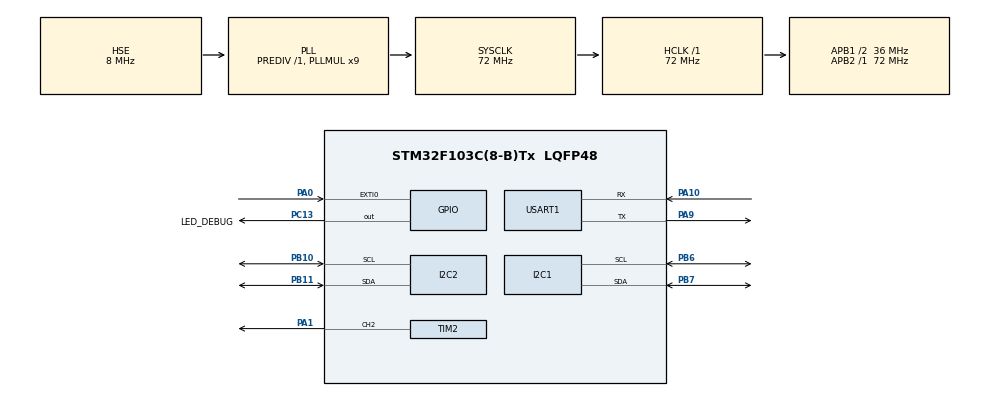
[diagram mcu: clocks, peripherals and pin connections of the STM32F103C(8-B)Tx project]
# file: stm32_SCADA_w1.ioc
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Mcu.Family=STM32F1
Mcu.Name=STM32F103C(8-B)Tx
Mcu.Package=LQFP48
NVIC.EXTI0_IRQn=true\:0\:0\:false\:false\:true\:true\:true\:true
NVIC.PriorityGroup=NVIC_PRIORITYGROUP_4
NVIC.USART1_IRQn=true\:0\:0\:false\:false\:true\:true\:true\:true
PA0-WKUP.GPIO_ModeDefaultEXTI=GPIO_MODE_IT_FALLING
PA0-WKUP.GPIO_PuPd=GPIO_PULLUP
PA0-WKUP.Signal=GPXTI0
PA1.Signal=S_TIM2_CH2
PA10.Mode=Asynchronous
PA10.Signal=USART1_RX
PA13.Mode=Serial_Wire
PA13.Signal=SYS_JTMS-SWDIO
PA14.Mode=Serial_Wire
PA14.Signal=SYS_JTCK-SWCLK
PA9.Mode=Asynchronous
PA9.Signal=USART1_TX
PB10.Mode=I2C
PB10.Signal=I2C2_SCL
PB11.Mode=I2C
PB11.Signal=I2C2_SDA
PB6.Mode=I2C
PB6.Signal=I2C1_SCL
PB7.Mode=I2C
PB7.Signal=I2C1_SDA
PC13-TAMPER-RTC.GPIO_Label=LED_DEBUG
PC13-TAMPER-RTC.PinState=GPIO_PIN_SET
PC13-TAMPER-RTC.Signal=GPIO_Output
PD0-OSC_IN.Mode=HSE-External-Oscillator
PD0-OSC_IN.Signal=RCC_OSC_IN
PD1-OSC_OUT.Mode=HSE-External-Oscillator
PD1-OSC_OUT.Signal=RCC_OSC_OUT
ProjectManager.HeapSize=0x200
ProjectManager.StackSize=0x400
ProjectManager.TargetToolchain=STM32CubeIDE
RCC.AHBFreq_Value=72000000
RCC.APB1CLKDivider=RCC_HCLK_DIV2
RCC.APB1Freq_Value=36000000
RCC.APB1TimFreq_Value=72000000
RCC.APB2Freq_Value=72000000
RCC.APB2TimFreq_Value=72000000
RCC.HCLKFreq_Value=72000000
RCC.PLLMUL=RCC_PLL_MUL9
RCC.PLLSourceVirtual=RCC_PLLSOURCE_HSE
RCC.SYSCLKFreq_VALUE=72000000
RCC.SYSCLKSource=RCC_SYSCLKSOURCE_PLLCLK
RCC.USBFreq_Value=72000000
SH.S_TIM2_CH2.0=TIM2_CH2,PWM Generation2 CH2
TIM2.Channel-PWM\ Generation2\ CH2=TIM_CHANNEL_2
TIM2.Prescaler=71
USART1.VirtualMode=VM_ASYNC
VP_TIM2_VS_ClockSourceINT.Mode=Internal
board=custom

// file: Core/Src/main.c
/* USER CODE BEGIN Header */
/**
  ******************************************************************************
  * @file           : main.c
  * @brief          : Main program body
  ******************************************************************************
  * @attention
  *
  * Copyright (c) 2026 STMicroelectronics.
  * All rights reserved.
  *
  * This software is licensed under terms that can be found in the LICENSE file
  * in the root directory of this software component.
  * If no LICENSE file comes with this software, it is provided AS-IS.
  *
  ******************************************************************************
  */
/* USER CODE END Header */
#include "main.h"
#include "i2c.h"
#include "tim.h"
#include "usart.h"
#include "gpio.h"

/* USER CODE BEGIN Includes */
#include "main.h"
#include "tim.h"
#include "usart.h"
#include "gpio.h"
#include "i2c-lcd.h"
#include <stdio.h>
#include <string.h>
/* USER CODE END Includes */

/* USER CODE BEGIN PTD */
typedef struct {
  uint8_t sec;
  uint8_t min;
  uint8_t hour;
  uint8_t day;
  uint8_t date;
  uint8_t month;
  uint8_t year;
} DS1307_Time_t;
/* USER CODE END PTD */

/* USER CODE BEGIN PD */
#define DS1307_ADDR (0x68 << 1)
/* USER CODE END PD */

/* USER CODE BEGIN PV */
uint8_t rx_byte; //hứng từng ký tự nhận đươc
char rx_buf[32]; // mảng chứa chuỗi lệnh hoàn chỉnh
uint8_t rx_idx=0; // con trỏ vị trí mảng
volatile uint8_t flag_cmd_ready=0; //cờ báo có lệnh từ máy ảo

//--Biến phục vụ nút nhấn EXTI & Khóa an toàn E-Stop-----//
volatile uint8_t flag_btn_pressed = 0; // Cờ báo có người nhấn PA0
volatile uint8_t is_stopped = 0;       // Cờ khóa dừng khẩn cấp E-Stop
volatile uint32_t stop_tick = 0;       // Thời điểm kích hoạt E-Stop

//--Biến phục vụ DS1307 RTC trên I2C2 (PB10/PB11)--------//
DS1307_Time_t rtc_time = {0};
DS1307_Time_t stop_time = {0};
uint8_t ds1307_ok = 0;

//--Biến phục vụ LCD 2 trang & đo thời gian sweep_servo---//
uint8_t lcd_page = 0;               // 0: Giờ Việt Nam (DS1307), 1: Thời gian sweep_servo
uint32_t servo_active_ms = 0;       // Tổng thời gian servo quay (sweep_servo)
uint32_t last_srv_cmd_tick = 0;     // Mốc thời gian nhận lệnh CMD:SRV gần nhất
int16_t last_servo_angle = 0;       // Góc servo gần nhất để nhận biết đang quay
/* USER CODE END PV */

void SystemClock_Config(void);
/* USER CODE BEGIN PFP */
void Set_Servo_Angle(int16_t angle);
uint8_t DS1307_BcdToDec(uint8_t bcd);
uint8_t DS1307_DecToBcd(uint8_t dec);
HAL_StatusTypeDef DS1307_EnsureRunning(void);
HAL_StatusTypeDef DS1307_SetTime(const DS1307_Time_t *t);
HAL_StatusTypeDef DS1307_GetTime(DS1307_Time_t *t);
void Update_LCD_Header(void);
/* USER CODE END PFP */

int main(void)
{

  /* MCU Configuration--------------------------------------------------------*/

  /* Reset of all peripherals, Initializes the Flash interface and the Systick. */
  HAL_Init();

  /* Configure the system clock */
  SystemClock_Config();

  /* Initialize all configured peripherals */
  MX_GPIO_Init();
  MX_TIM2_Init();
  MX_USART1_UART_Init();
  MX_I2C1_Init();
  MX_I2C2_Init();
  /* USER CODE BEGIN 2 */
  // 0. Đảm bảo chu kỳ PWM luôn là 20ms (ARR = 19999 cho 50Hz)
  __HAL_TIM_SET_AUTORELOAD(&htim2, 19999);

  // 1. Kích hoạt xuất xung PWM trên Timer 2 Kênh 2 (chân PA1)
  HAL_TIM_PWM_Start(&htim2, TIM_CHANNEL_2);

  // 2. Đưa Servo về góc 0 độ mặc định ban đâu
  Set_Servo_Angle(0);

  // 3. Kích hoạt ngắt nhận byte UART đàu tiên
  HAL_UART_Receive_IT(&huart1, &rx_byte, 1);

  // 4. Khởi động màn hình LCD 1602 và in dòng chữ chào mừng
  lcd_init();
  lcd_put_cur(0, 0);
  lcd_send_string("STM32 Mini-SCADA");
  lcd_put_cur(1, 0);
  lcd_send_string("Servo: 000 deg  ");

  // 5. Kiểm tra DS1307 trên I2C2 (PB10/PB11) và đánh thức bộ dao động (giờ VN nhận qua $CMD:RTC)
  if (HAL_I2C_IsDeviceReady(&hi2c2, DS1307_ADDR, 2, 50) == HAL_OK)
  {
    ds1307_ok = 1;
    DS1307_EnsureRunning();
    DS1307_GetTime(&rtc_time);
    Update_LCD_Header();
  }

  // 6. Phát bản tin khởi động lên HMI để đồng bộ trạng thái boot
  {
    char boot_msg[40];
    sprintf(boot_msg, "$ALM:%02d%02d%02d:SYS:BOOT\n", rtc_time.hour, rtc_time.min, rtc_time.sec);
    HAL_UART_Transmit(&huart1, (uint8_t*)boot_msg, strlen(boot_msg), 50);
  }
  /* USER CODE END 2 */

  /* Infinite loop */
  /* USER CODE BEGIN WHILE */
  uint32_t last_rtc_tick = HAL_GetTick();
  uint32_t last_page_tick = HAL_GetTick();
  while (1)
  {
	// -------------------------------------------------------------
	// TÁC VỤ 1: Kiểm tra xem có lệnh mới từ máy ảo gửi xuống không
	// -------------------------------------------------------------
	  if (flag_cmd_ready)
	  {
		int val=0;
		char resp[40];

		// Kiểm tra nếu là lệnh LED: $CMD:LED:1\n hoặc 0\n
		if (sscanf(rx_buf, "CMD:LED:%d", &val)==1)
		{
			// Bật ( kéo xuống 0 ) hoặc Tắt ( kéo lên 1 ) PC13
			HAL_GPIO_WritePin(GPIOC, GPIO_PIN_13, val ? GPIO_PIN_RESET : GPIO_PIN_SET );

			// Đóng gói chuỗi phản hồi ( ACK ) gửi ngược lên máy ảo
			sprintf(resp, "$TLM:%02d%02d%02d:LED:%d\n", rtc_time.hour, rtc_time.min, rtc_time.sec, val);
			HAL_UART_Transmit (&huart1,(uint8_t*)resp,strlen(resp), 50 );
		}

		// Kiểm tra nếu là lệnh Servo $CMD:SRV:090\n
		else if (sscanf(rx_buf, "CMD:SRV:%d", &val)==1)
		{
			// Khi đang khóa an toàn E-Stop -> Từ chối mọi lệnh Servo cho tới khi nhận $CMD:SYS:UNLOCK
			if (is_stopped)
			{
				sprintf(resp, "$ALM:%02d%02d%02d:SYS:LOCKED\n", rtc_time.hour, rtc_time.min, rtc_time.sec);
				HAL_UART_Transmit(&huart1, (uint8_t*)resp, strlen(resp), 50);
			}
			else
			{
				uint8_t was_stopped = is_stopped;
				uint32_t now_tick = HAL_GetTick();

				int clamped_val = val;
				if (clamped_val < 0) clamped_val = 0;
				if (clamped_val > 180) clamped_val = 180;

				// Chỉ cộng dồn thời gian quay khi servo thực sự đổi góc trong đợt sweep (<= 2s)
				if (last_srv_cmd_tick != 0 &&
					(now_tick - last_srv_cmd_tick) <= 2000U &&
					clamped_val != last_servo_angle)
				{
					servo_active_ms += (now_tick - last_srv_cmd_tick);
				}
				last_srv_cmd_tick = now_tick;
				last_servo_angle = (int16_t)clamped_val;

				Set_Servo_Angle((int16_t)clamped_val);

				// 1. Chỉ vẽ lại dòng 0 ngay khi vừa thoát trạng thái STOPPED (giảm tải I2C khi sweep)
				if (was_stopped)
				{
					Update_LCD_Header();
				}

				// 2. Cập nhật góc mới lên Dòng 2 LCD (có chặn 0-180)
				char lcd_str[17];
				sprintf(lcd_str, "Servo: %03d deg  ", clamped_val);
				lcd_put_cur(1, 0);
				lcd_send_string(lcd_str);

				// 3. Đóng gói chuỗi phản hồi (ACK)
				sprintf(resp, "$TLM:%02d%02d%02d:SRV:%03d\n", rtc_time.hour, rtc_time.min, rtc_time.sec, clamped_val);
				HAL_UART_Transmit(&huart1, (uint8_t*)resp, strlen(resp), 50);
			}
		}
		// Lệnh mở khóa hệ thống: $CMD:SYS:UNLOCK\n
		else if (strncmp(rx_buf, "CMD:SYS:UNLOCK", 14) == 0)
		{
			is_stopped = 0;
			last_srv_cmd_tick = 0;
			Update_LCD_Header();
			lcd_put_cur(1, 0);
			lcd_send_string("Servo: 000 deg  ");
			sprintf(resp, "$TLM:%02d%02d%02d:SYS:UNLOCKED\n", rtc_time.hour, rtc_time.min, rtc_time.sec);
			HAL_UART_Transmit(&huart1, (uint8_t*)resp, strlen(resp), 50);
		}
		// Lệnh cài giờ DS1307: $CMD:RTC:HH:MM:SS\n
		else
		{
			int hh = 0, mm = 0, ss = 0;
			if (sscanf(rx_buf, "CMD:RTC:%d:%d:%d", &hh, &mm, &ss) == 3)
			{
				if (hh >= 0 && hh <= 23 && mm >= 0 && mm <= 59 && ss >= 0 && ss <= 59)
				{
					DS1307_Time_t new_time = rtc_time;
					new_time.hour = (uint8_t)hh;
					new_time.min = (uint8_t)mm;
					new_time.sec = (uint8_t)ss;
					if (new_time.day == 0) new_time.day = 1;
					if (new_time.date == 0) new_time.date = 1;
					if (new_time.month == 0) new_time.month = 1;
					if (DS1307_SetTime(&new_time) == HAL_OK)
					{
						ds1307_ok = 1;
						rtc_time = new_time;
						if (!is_stopped) Update_LCD_Header();
						sprintf(resp, "$TLM:%02d%02d%02d:RTC:OK\n", rtc_time.hour, rtc_time.min, rtc_time.sec);
					}
					else
					{
						sprintf(resp, "$ALM:%02d%02d%02d:RTC:ERR\n", rtc_time.hour, rtc_time.min, rtc_time.sec);
					}
					HAL_UART_Transmit(&huart1, (uint8_t*)resp, strlen(resp), 50);
				}
			}
		}
		flag_cmd_ready=0;
	  }

	  // -------------------------------------------------------------
	  // TÁC VỤ 2: Xử lý sự kiện bấm nút PA0 (DỪNG KHẨN CẤP E-STOP)
	  // -------------------------------------------------------------
	  if (flag_btn_pressed)
	  {
		  static uint32_t last_btn_tick = 0;
		  // Chống dội 200ms bằng SysTick - NHẤN 1 LẦN ĂN NGAY!
		  if (HAL_GetTick() - last_btn_tick > 200)
		  {
			  last_btn_tick = HAL_GetTick();

			  // 1. Bật cờ khóa cứng hệ thống và chốt thời điểm E-Stop
			  is_stopped = 1;
			  stop_tick = HAL_GetTick();
			  last_srv_cmd_tick = 0;
			  if (ds1307_ok && DS1307_GetTime(&rtc_time) == HAL_OK)
			  {
				  stop_time = rtc_time;
			  }

			  // 2. STM32 TỰ ĐỘNG thu Servo về 0 độ ngay lập tức!
			  Set_Servo_Angle(0);

			  // 3. Màn hình LCD đóng băng thời điểm xảy ra ngừng đột ngột
			  char line0[17];
			  char line1[17];
			  if (ds1307_ok)
			  {
				  snprintf(line0, sizeof(line0), "STOP AT %02u:%02u:%02u",
						   (unsigned)(stop_time.hour % 24U),
						   (unsigned)(stop_time.min % 60U),
						   (unsigned)(stop_time.sec % 60U));
			  }
			  else
			  {
				  snprintf(line0, sizeof(line0), "** STOPPED! **  ");
			  }

			  uint32_t swp_s = servo_active_ms / 1000U;
			  if (swp_s > 0U)
			  {
				  uint32_t swp_m = (swp_s / 60U) % 100U;
				  uint32_t swp_rem_s = swp_s % 60U;
				  snprintf(line1, sizeof(line1), "SWP:%02lu:%02lu (SAFE)",
						   (unsigned long)swp_m, (unsigned long)swp_rem_s);
			  }
			  else
			  {
				  snprintf(line1, sizeof(line1), "Servo: 000(SAFE)");
			  }

			  lcd_put_cur(0, 0);
			  lcd_send_string(line0);
			  lcd_put_cur(1, 0);
			  lcd_send_string(line1);

			  // 4. Báo tin lên máy tính kèm đúng timestamp lúc xảy ra sự cố
			  char btn_msg[40];
			  sprintf(btn_msg, "$ALM:%02d%02d%02d:BTN:PRESSED\n",
					  stop_time.hour, stop_time.min, stop_time.sec);
			  HAL_UART_Transmit(&huart1, (uint8_t*)btn_msg, strlen(btn_msg), 50);
		  }
		  flag_btn_pressed = 0;
	  }

	  // -------------------------------------------------------------
	  // TÁC VỤ 3: Đọc DS1307 mỗi 1000ms & xoay vòng 2 trang LCD mỗi 3000ms
	  // -------------------------------------------------------------
	  if (HAL_GetTick() - last_page_tick >= 3000)
	  {
		  last_page_tick = HAL_GetTick();
		  if (!is_stopped)
		  {
			  lcd_page ^= 1U;
			  Update_LCD_Header();
		  }
	  }

	  if (HAL_GetTick() - last_rtc_tick >= 1000)
	  {
		  last_rtc_tick = HAL_GetTick();
		  if (ds1307_ok)
		  {
			  if (DS1307_GetTime(&rtc_time) == HAL_OK)
			  {
				  if (!is_stopped)
				  {
					  Update_LCD_Header();
				  }
			  }
			  else
			  {
				  ds1307_ok = 0;
			  }
		  }
		  else
		  {
			  if (HAL_I2C_IsDeviceReady(&hi2c2, DS1307_ADDR, 1, 20) == HAL_OK)
			  {
				  ds1307_ok = 1;
				  DS1307_EnsureRunning();
				  DS1307_GetTime(&rtc_time);
			  }
			  if (!is_stopped)
			  {
				  Update_LCD_Header();
			  }
		  }
	  }

    /* USER CODE END WHILE */

  }
}

void SystemClock_Config(void)
{
  RCC_OscInitTypeDef RCC_OscInitStruct = {0};
  RCC_ClkInitTypeDef RCC_ClkInitStruct = {0};

  /** Initializes the RCC Oscillators according to the specified parameters
  * in the RCC_OscInitTypeDef structure.
  */
  RCC_OscInitStruct.OscillatorType = RCC_OSCILLATORTYPE_HSE;
  RCC_OscInitStruct.HSEState = RCC_HSE_ON;
  RCC_OscInitStruct.HSEPredivValue = RCC_HSE_PREDIV_DIV1;
  RCC_OscInitStruct.HSIState = RCC_HSI_ON;
  RCC_OscInitStruct.PLL.PLLState = RCC_PLL_ON;
  RCC_OscInitStruct.PLL.PLLSource = RCC_PLLSOURCE_HSE;
  RCC_OscInitStruct.PLL.PLLMUL = RCC_PLL_MUL9;
  if (HAL_RCC_OscConfig(&RCC_OscInitStruct) != HAL_OK)
  {
    Error_Handler();
  }

  /** Initializes the CPU, AHB and APB buses clocks
  */
  RCC_ClkInitStruct.ClockType = RCC_CLOCKTYPE_HCLK|RCC_CLOCKTYPE_SYSCLK
                              |RCC_CLOCKTYPE_PCLK1|RCC_CLOCKTYPE_PCLK2;
  RCC_ClkInitStruct.SYSCLKSource = RCC_SYSCLKSOURCE_PLLCLK;
  RCC_ClkInitStruct.AHBCLKDivider = RCC_SYSCLK_DIV1;
  RCC_ClkInitStruct.APB1CLKDivider = RCC_HCLK_DIV2;
  RCC_ClkInitStruct.APB2CLKDivider = RCC_HCLK_DIV1;

  if (HAL_RCC_ClockConfig(&RCC_ClkInitStruct, FLASH_LATENCY_2) != HAL_OK)
  {
    Error_Handler();
  }
}

/* USER CODE BEGIN 4 */

// 1. Hàm Callback ngắt nhận UART (Chạy tự động mỗi khi có 1 byte bay tới)
void HAL_UART_RxCpltCallback(UART_HandleTypeDef *huart)
{
	if (huart->Instance==USART1)
	{
		if (rx_byte == '$')
		{
			rx_idx=0; // Ký tự bắt đầu -> Reset con trỏ về đầu
		}
		else if ( rx_byte=='\n')
		{
			rx_buf[rx_idx]='\0'; // Ký tự kết thúc -> Đóng chuỗi C
			flag_cmd_ready=1; // bật cờ thông báo cho while(1)
		}
		else
		{
			if (rx_idx<sizeof(rx_buf)-1)
			{
				rx_buf[rx_idx++]=rx_byte; //Lưu ký tự vào bộ đệm
			}
		}
		// Mồi lại để sẵn sàng nhận ký tự tiếp theo
		HAL_UART_Receive_IT(huart, &rx_byte, 1);
	}
}

// 2. Hàm Callback ngắt ngoài nút EXTI ( chạy tự động hi ấn nút PA0 )
void HAL_GPIO_EXTI_Callback(uint16_t GPIO_Pin)
{
	if (GPIO_Pin == GPIO_PIN_0)
	{
		flag_btn_pressed = 1; // Bật cờ, thoát ngắt ngay lập tức
	}
}

// 3. Hàm quy đổi góc 0-180 độ sang xung PWM nạp vào thanh ghi CCR2
void Set_Servo_Angle(int16_t angle)
{
    if (angle < 0) angle = 0;
    if (angle > 180) angle = 180;

    // Đổi công thức sang dải 500us (0 độ) -> 2500us (180 độ)
    uint32_t ccr_val = 500 + ((uint32_t)angle * 2000) / 180;
    __HAL_TIM_SET_COMPARE(&htim2, TIM_CHANNEL_2, ccr_val);
}

// 4. Chuyển đổi BCD <-> Decimal cho DS1307
uint8_t DS1307_BcdToDec(uint8_t bcd)
{
    return (uint8_t)(((bcd >> 4) * 10U) + (bcd & 0x0FU));
}

uint8_t DS1307_DecToBcd(uint8_t dec)
{
    return (uint8_t)(((dec / 10U) << 4) | (dec % 10U));
}

// 5. Đảm bảo bit CH (bit 7 thanh ghi 0x00) được xóa để DS1307 chạy dao động
HAL_StatusTypeDef DS1307_EnsureRunning(void)
{
    uint8_t sec_reg = 0;
    HAL_StatusTypeDef st = HAL_I2C_Mem_Read(&hi2c2, DS1307_ADDR, 0x00, I2C_MEMADD_SIZE_8BIT, &sec_reg, 1, 50);
    if (st != HAL_OK)
    {
        return st;
    }
    if (sec_reg & 0x80U)
    {
        sec_reg &= 0x7FU;
        st = HAL_I2C_Mem_Write(&hi2c2, DS1307_ADDR, 0x00, I2C_MEMADD_SIZE_8BIT, &sec_reg, 1, 50);
    }
    return st;
}

// 6. Ghi thời gian 24h xuống DS1307 qua I2C2 (PB10/PB11)
HAL_StatusTypeDef DS1307_SetTime(const DS1307_Time_t *t)
{
    uint8_t buf[7];
    buf[0] = DS1307_DecToBcd(t->sec) & 0x7FU; // Bit 7 = 0 -> Bật dao động
    buf[1] = DS1307_DecToBcd(t->min);
    buf[2] = DS1307_DecToBcd(t->hour) & 0x3FU; // Bit 6 = 0 -> Chế độ 24h
    buf[3] = DS1307_DecToBcd(t->day);
    buf[4] = DS1307_DecToBcd(t->date);
    buf[5] = DS1307_DecToBcd(t->month);
    buf[6] = DS1307_DecToBcd(t->year);
    return HAL_I2C_Mem_Write(&hi2c2, DS1307_ADDR, 0x00, I2C_MEMADD_SIZE_8BIT, buf, 7, 50);
}

// 7. Đọc thời gian từ DS1307 qua I2C2 (PB10/PB11)
HAL_StatusTypeDef DS1307_GetTime(DS1307_Time_t *t)
{
    uint8_t buf[7] = {0};
    HAL_StatusTypeDef st = HAL_I2C_Mem_Read(&hi2c2, DS1307_ADDR, 0x00, I2C_MEMADD_SIZE_8BIT, buf, 7, 50);
    if (st == HAL_OK)
    {
        t->sec   = DS1307_BcdToDec(buf[0] & 0x7FU);
        t->min   = DS1307_BcdToDec(buf[1] & 0x7FU);
        t->hour  = DS1307_BcdToDec(buf[2] & 0x3FU);
        t->day   = DS1307_BcdToDec(buf[3] & 0x07U);
        t->date  = DS1307_BcdToDec(buf[4] & 0x3FU);
        t->month = DS1307_BcdToDec(buf[5] & 0x1FU);
        t->year  = DS1307_BcdToDec(buf[6]);
    }
    return st;
}

// 8. Cập nhật dòng 1 LCD theo 2 trang (Trang 0: Giờ Việt Nam, Trang 1: Thời gian sweep_servo)
void Update_LCD_Header(void)
{
    char line0[17];
    if (lcd_page == 0U)
    {
        if (ds1307_ok)
        {
            snprintf(line0, sizeof(line0), "VN: %02u:%02u:%02u    ",
                     (unsigned)(rtc_time.hour % 24U),
                     (unsigned)(rtc_time.min % 60U),
                     (unsigned)(rtc_time.sec % 60U));
        }
        else
        {
            snprintf(line0, sizeof(line0), "STM32 Mini-SCADA");
        }
    }
    else
    {
        uint32_t tot_s = servo_active_ms / 1000U;
        uint32_t h = (tot_s / 3600U) % 100U;
        uint32_t m = (tot_s / 60U) % 60U;
        uint32_t s = tot_s % 60U;
        snprintf(line0, sizeof(line0), "SWP: %02lu:%02lu:%02lu   ",
                 (unsigned long)h, (unsigned long)m, (unsigned long)s);
    }
    lcd_put_cur(0, 0);
    lcd_send_string(line0);
}
/* USER CODE END 4 */

void Error_Handler(void)
{
  __disable_irq();
  while (1)
  {
  }
}
